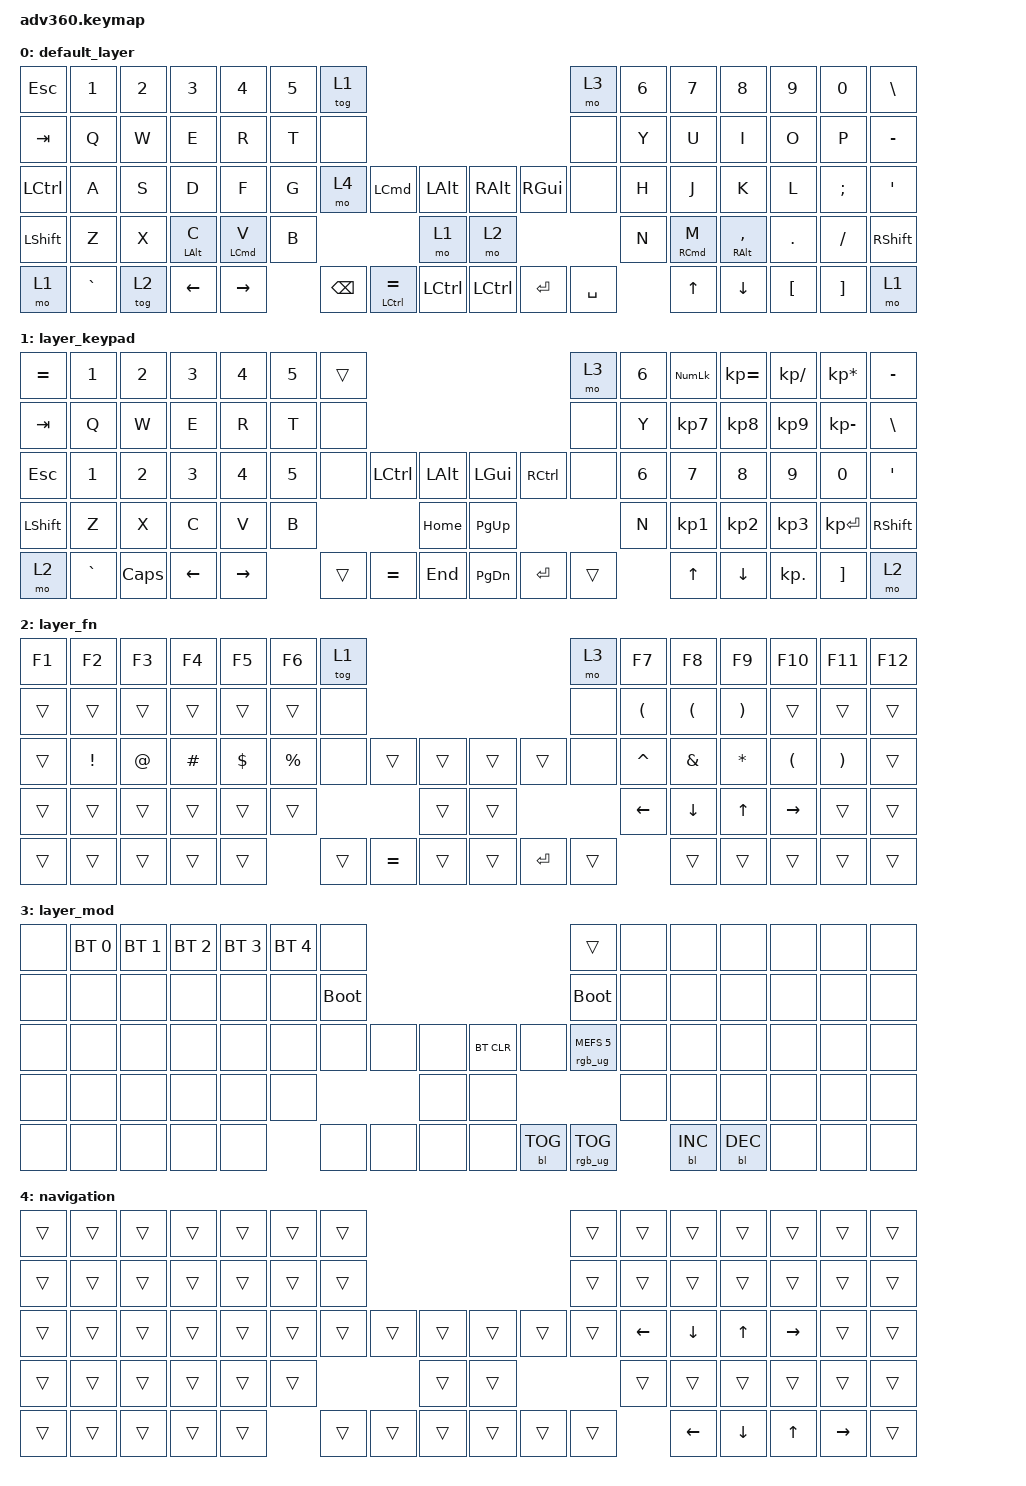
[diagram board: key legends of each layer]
/*
 * Copyright (c) 2020 The ZMK Contributors
 *
 * SPDX-License-Identifier: MIT
 */
/* THIS FILE WAS GENERATED!
 *
 * This file was generated automatically. You may or may not want to
 * edit it directly.
 */

#include <behaviors.dtsi>
#include <dt-bindings/zmk/backlight.h>
#include <dt-bindings/zmk/bt.h>
#include <dt-bindings/zmk/keys.h>
#include <dt-bindings/zmk/rgb.h>

/ {
    behaviors {
        #include "macros.dtsi"
    #include "version.dtsi"

        hm: homerow_mods {
            compatible = "zmk,behavior-hold-tap";
            label = "HOMEROW_MODS";
            #binding-cells = <2>;
            tapping-term-ms = <220>;
            bindings = <&kp>, <&kp>;

            flavor = "balanced";
        };
    };

    combos { compatible = "zmk,combos"; };

    keymap {
        compatible = "zmk,keymap";

        default_layer {
            bindings = <
&kp ESC    &kp N1     &kp N2  &kp N3          &kp N4              &kp N5  &tog 1                                                                              &mo 3      &kp N6  &kp N7               &kp N8               &kp N9      &kp N0         &kp BACKSLASH
&kp TAB    &kp Q      &kp W   &kp E           &kp R               &kp T   &none                                                                               &none      &kp Y   &kp U                &kp I                &kp O       &kp P          &kp MINUS
&kp LCTRL  &kp A      &kp S   &kp D           &kp F               &kp G   &mo 4          &kp LEFT_COMMAND        &kp LALT       &kp RIGHT_ALT  &kp RIGHT_GUI  &none      &kp H   &kp J                &kp K                &kp L       &kp SEMICOLON  &kp SQT
&kp LSHFT  &kp Z      &kp X   &hm LEFT_ALT C  &hm LEFT_COMMAND V  &kp B                                          &mo 1          &mo 2                                    &kp N   &hm RIGHT_COMMAND M  &hm RIGHT_ALT COMMA  &kp PERIOD  &kp FSLH       &kp RSHFT
&mo 1      &kp GRAVE  &tog 2  &kp LEFT        &kp RIGHT                   &kp BACKSPACE  &hm LEFT_CONTROL EQUAL  &kp LCTRL      &kp LCTRL      &kp ENTER      &kp SPACE          &kp UP_ARROW         &kp DOWN_ARROW       &kp LBKT    &kp RBKT       &mo 1
            >;
        };

        layer_keypad {
            bindings = <
&kp EQUAL  &kp N1        &kp N2        &kp N3        &kp N4        &kp N5        &trans                                                 &mo 3   &kp N6        &kp KP_NUM    &kp KP_EQUAL  &kp KP_DIVIDE  &kp KP_MULTIPLY  &kp MINUS
&kp TAB    &kp Q         &kp W         &kp E         &kp R         &kp T         &none                                                  &none   &kp Y         &kp KP_N7     &kp KP_N8     &kp KP_N9      &kp KP_MINUS     &kp BSLH
&kp ESC    &kp NUMBER_1  &kp NUMBER_2  &kp NUMBER_3  &kp NUMBER_4  &kp NUMBER_5  &none   &kp LCTRL  &kp LALT      &kp LGUI   &kp RCTRL  &none   &kp NUMBER_6  &kp NUMBER_7  &kp NUMBER_8  &kp NUMBER_9   &kp NUMBER_0     &kp SQT
&kp LSHFT  &kp Z         &kp X         &kp C         &kp V         &kp B                            &kp HOME      &kp PG_UP                     &kp N         &kp KP_N1     &kp KP_N2     &kp KP_N3      &kp KP_ENTER     &kp RSHFT
&mo 2      &kp GRAVE     &kp CAPS      &kp LEFT      &kp RIGHT                   &trans  &kp EQUAL  &kp END       &kp PG_DN  &kp ENTER  &trans                &kp UP        &kp DOWN      &kp KP_DOT     &kp RBKT         &mo 2
            >;
        };

        layer_fn {
            bindings = <
&kp F1  &kp F2           &kp F3       &kp F4    &kp F5      &kp F6       &tog 1                                            &mo 3   &kp F7                &kp F8                &kp F9                 &kp F10               &kp F11                &kp F12
&trans  &trans           &trans       &trans    &trans      &trans       &none                                             &none   &kp LEFT_PARENTHESIS  &kp LEFT_PARENTHESIS  &kp RIGHT_PARENTHESIS  &trans                &trans                 &trans
&trans  &kp EXCLAMATION  &kp AT_SIGN  &kp HASH  &kp DOLLAR  &kp PERCENT  &none   &trans     &trans      &trans  &trans     &none   &kp CARET             &kp AMPERSAND         &kp STAR               &kp LEFT_PARENTHESIS  &kp RIGHT_PARENTHESIS  &trans
&trans  &trans           &trans       &trans    &trans      &trans                          &trans      &trans                     &kp LEFT              &kp DOWN              &kp UP_ARROW           &kp RIGHT             &trans                 &trans
&trans  &trans           &trans       &trans    &trans                   &trans  &kp EQUAL  &trans      &trans  &kp ENTER  &trans                        &trans                &trans                 &trans                &trans                 &trans
            >;
        };

        layer_mod {
            bindings = <
&none  &bt BT_SEL 0  &bt BT_SEL 1  &bt BT_SEL 2  &bt BT_SEL 3  &bt BT_SEL 4  &none                                                  &trans                  &none  &none       &none       &none  &none  &none
&none  &none         &none         &none         &none         &none         &bootloader                                            &bootloader             &none  &none       &none       &none  &none  &none
&none  &none         &none         &none         &none         &none         &none        &none  &none      &bt BT_CLR  &none       &rgb_ug RGB_MEFS_CMD 5  &none  &none       &none       &none  &none  &none
&none  &none         &none         &none         &none         &none                             &none      &none                                           &none  &none       &none       &none  &none  &none
&none  &none         &none         &none         &none                       &none        &none  &none      &none       &bl BL_TOG  &rgb_ug RGB_TOG                &bl BL_INC  &bl BL_DEC  &none  &none  &none
            >;
        };

        navigation {
            bindings = <
&trans  &trans  &trans  &trans  &trans  &trans  &trans                                      &trans  &trans    &trans          &trans        &trans        &trans     &trans
&trans  &trans  &trans  &trans  &trans  &trans  &trans                                      &trans  &trans    &trans          &trans        &trans        &trans     &trans
&trans  &trans  &trans  &trans  &trans  &trans  &trans  &trans  &trans      &trans  &trans  &trans  &kp LEFT  &kp DOWN        &kp UP_ARROW  &kp RIGHT     &trans     &trans
&trans  &trans  &trans  &trans  &trans  &trans                  &trans      &trans                  &trans    &trans          &trans        &trans        &trans     &trans
&trans  &trans  &trans  &trans  &trans          &trans  &trans  &trans      &trans  &trans  &trans            &kp LEFT_ARROW  &kp DOWN      &kp UP_ARROW  &kp RIGHT  &trans
            >;
        };
    };

    conditional_layers {
        compatible = "zmk,conditional-layers";

        nav {
            if-layers = <1 2>;
            then-layer = <4>;
        };
    };
};
